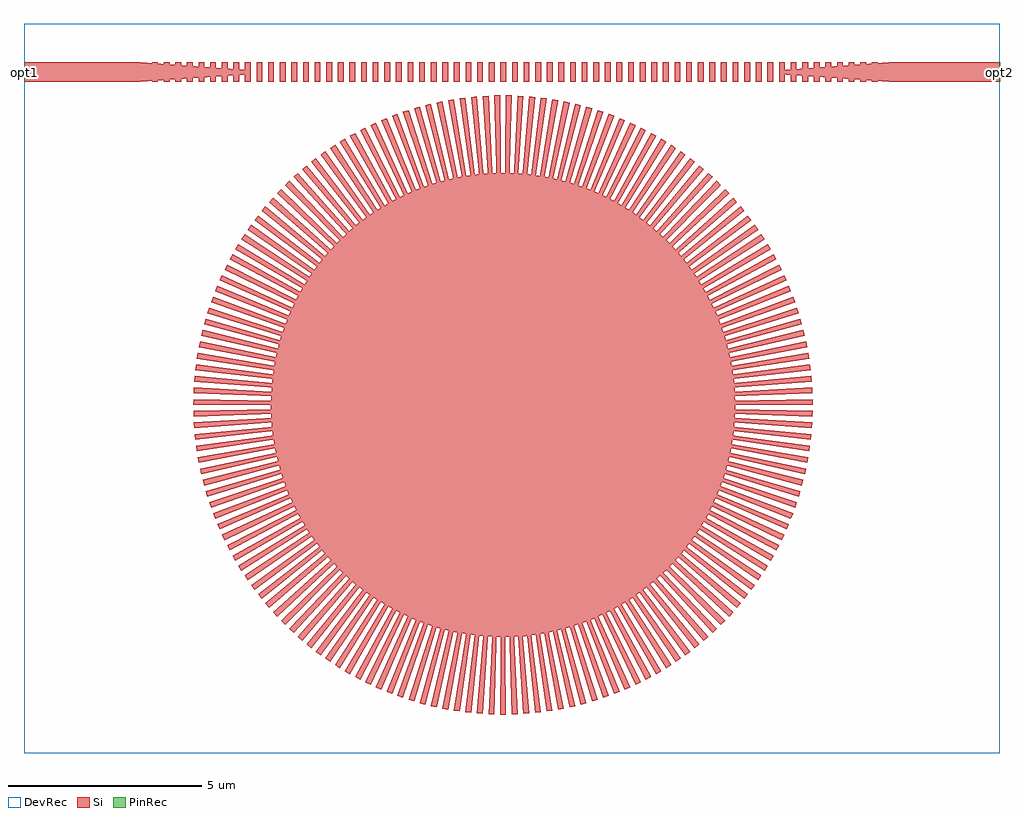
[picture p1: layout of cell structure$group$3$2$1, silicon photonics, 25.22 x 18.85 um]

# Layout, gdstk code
import gdstk
lib = gdstk.Library(unit=1e-6, precision=1e-09)
def R(c, l, rs):  # rectangles x0, y0, x1, y1
    for r in rs: c.add(gdstk.rectangle(r[:2], r[2:], *l))
def A(c, l, x, y, w, h, nx, ny, dx, dy):  # array of equal rectangles
    R(c, l, [(x+i*dx, y+j*dy, x+i*dx+w, y+j*dy+h) for i in range(nx) for j in range(ny)])
def P(c, l, *ps):  # polygons
    for p in ps: c.add(gdstk.Polygon(p, *l))
Si = (1, 0)
PinRec = (1, 10)
DevRec = (68, 0)

swg_ring_2_2_1 = lib.new_cell('swg_ring$2$2$1')
P(swg_ring_2_2_1, Si, [(-0.075,-8),(-0.004,-0.4),(0.004,-0.4),(0.075,-8)],
  [(-0.014,-6),(-0.602,-5.97),(-1.184,-5.882),(-1.755,-5.738),(-2.308,-5.538),(-2.84,-5.285),(-3.344,-4.982),(-3.816,-4.63),(-4.251,-4.234),(-4.645,-3.797),(-4.995,-3.324),(-5.297,-2.819),(-5.547,-2.286),(-5.745,-1.732),(-5.887,-1.161),(-5.972,-0.578),(-6,0.01),(-5.97,0.597),(-5.883,1.179),(-5.739,1.75),(-5.54,2.304),(-5.288,2.835),(-4.984,3.34),(-4.633,3.812),(-4.238,4.248),(-3.801,4.642),(-3.328,4.992),(-2.823,5.294),(-2.291,5.546),(-1.736,5.743),(-1.165,5.886),(-0.583,5.972),(0.005,6),(0.593,5.971),(1.175,5.884),(1.745,5.741),(2.299,5.542),(2.831,5.29),(3.336,4.987),(3.808,4.636),(4.244,4.241),(4.639,3.805),(4.99,3.332),(5.292,2.827),(5.544,2.295),(5.742,1.741),(5.885,1.17),(5.971,0.588),(6,0),(5.969,-0.607),(5.881,-1.189),(5.736,-1.759),(5.536,-2.313),(5.283,-2.844),(4.979,-3.348),(4.627,-3.82),(4.231,-4.254),(3.794,-4.648),(3.32,-4.998),(2.814,-5.299),(2.282,-5.549),(1.727,-5.746),(1.156,-5.888),(0.574,-5.973)],
  [(0.4,0.015),(0.399,0.023),(7.987,0.451),(7.994,0.301)],
  [(0.171,0.362),(0.164,0.365),(3.286,7.294),(3.423,7.231)],
  [(0.39,0.09),(0.388,0.097),(7.762,1.937),(7.797,1.791)],
  [(0.366,0.161),(0.363,0.168),(7.263,3.354),(7.325,3.217)],
  [(0.395,0.06),(0.394,0.067),(7.886,1.348),(7.91,1.199)],
  [(0.086,0.391),(0.078,0.392),(1.57,7.844),(1.717,7.814)],
  [(0.372,0.147),(0.369,0.154),(7.384,3.079),(7.44,2.939)],
  [(0.312,0.251),(0.307,0.256),(6.139,5.129),(6.234,5.013)],
  [(0.292,0.273),(0.287,0.279),(5.736,5.576),(5.84,5.468)],
  [(0.282,0.284),(0.276,0.289),(5.522,5.788),(5.63,5.683)],
  [(0.4,0),(0.4,0.008),(7.999,0.15),(8,0)],
  [(0.393,0.075),(0.391,0.082),(7.829,1.644),(7.859,1.496)],
  [(0.346,0.201),(0.342,0.208),(6.839,4.151),(6.916,4.022)],
  [(0.056,0.396),(0.049,0.397),(0.976,7.94),(1.125,7.921)],
  [(0.041,0.398),(0.034,0.399),(0.676,7.971),(0.826,7.957)],
  [(0.338,0.214),(0.334,0.22),(6.678,4.405),(6.759,4.279)],
  [(0.302,0.262),(0.297,0.268),(5.942,5.357),(6.042,5.244)],
  [(0.321,0.239),(0.316,0.245),(6.328,4.895),(6.419,4.775)],
  [(0.211,0.34),(0.204,0.344),(4.087,6.877),(4.215,6.799)],
  [(0.185,0.355),(0.178,0.358),(3.558,7.165),(3.692,7.097)],
  [(0.248,0.314),(0.242,0.319),(4.835,6.373),(4.954,6.281)],
  [(0.198,0.348),(0.191,0.351),(3.825,7.026),(3.956,6.953)],
  [(0.129,0.379),(0.122,0.381),(2.443,7.618),(2.586,7.57)],
  [(0.353,0.188),(0.35,0.195),(6.99,3.891),(7.062,3.759)],
  [(0.259,0.305),(0.254,0.309),(5.072,6.187),(5.187,6.091)],
  [(0.386,0.104),(0.384,0.111),(7.684,2.228),(7.724,2.083)],
  [(0.071,0.394),(0.064,0.395),(1.274,7.898),(1.422,7.873)],
  [(0.377,0.133),(0.375,0.14),(7.494,2.799),(7.546,2.657)],
  [(0.223,0.332),(0.217,0.336),(4.342,6.719),(4.468,6.636)],
  [(0.157,0.368),(0.15,0.371),(3.009,7.412),(3.148,7.355)],
  [(0.397,0.045),(0.397,0.053),(7.931,1.05),(7.949,0.901)],
  [(0.026,0.399),(0.019,0.4),(0.376,7.991),(0.526,7.983)],
  [(0.143,0.373),(0.136,0.376),(2.728,7.52),(2.869,7.468)],
  [(0.115,0.383),(0.108,0.385),(2.155,7.704),(2.3,7.662)],
  [(0.382,0.119),(0.38,0.126),(7.594,2.515),(7.64,2.372)],
  [(0.36,0.175),(0.357,0.181),(7.131,3.625),(7.198,3.49)],
  [(0.236,0.323),(0.23,0.328),(4.592,6.551),(4.714,6.463)],
  [(0.1,0.387),(0.093,0.389),(1.864,7.78),(2.01,7.743)],
  [(0.004,0.4),(0.075,8),(0.226,7.997),(0.011,0.4)],
  [(0.399,0.03),(0.398,0.038),(7.965,0.751),(7.977,0.601)],
  [(0.271,0.295),(0.265,0.3),(5.301,5.992),(5.412,5.891)],
  [(0.33,0.227),(0.325,0.233),(6.507,4.653),(6.594,4.53)],
  [(-0.386,0.104),(-7.724,2.083),(-7.684,2.228),(-0.384,0.111)],
  [(-0.33,0.227),(-6.594,4.53),(-6.507,4.653),(-0.325,0.233)],
  [(-0.198,0.348),(-3.956,6.953),(-3.825,7.026),(-0.191,0.351)],
  [(-0.236,0.323),(-4.714,6.463),(-4.592,6.551),(-0.23,0.328)],
  [(-0.282,0.284),(-5.63,5.683),(-5.522,5.788),(-0.276,0.289)],
  [(-0.129,0.379),(-2.586,7.57),(-2.443,7.618),(-0.122,0.381)],
  [(-0.171,0.362),(-3.423,7.231),(-3.286,7.294),(-0.164,0.365)],
  [(-0.382,0.119),(-7.64,2.372),(-7.594,2.515),(-0.38,0.126)],
  [(-0.271,0.295),(-5.412,5.891),(-5.301,5.992),(-0.265,0.3)],
  [(-8,0),(-7.999,0.15),(-0.4,0.008),(-0.4,0)],
  [(-0.399,0.03),(-7.977,0.601),(-7.965,0.751),(-0.398,0.038)],
  [(-0.071,0.394),(-1.422,7.873),(-1.274,7.898),(-0.064,0.395)],
  [(-0.395,0.06),(-7.91,1.199),(-7.886,1.348),(-0.394,0.067)],
  [(-0.39,0.09),(-7.797,1.791),(-7.762,1.937),(-0.388,0.097)],
  [(-0.292,0.273),(-5.84,5.468),(-5.736,5.576),(-0.287,0.279)],
  [(-0.302,0.262),(-6.042,5.244),(-5.942,5.357),(-0.297,0.268)],
  [(-0.312,0.251),(-6.234,5.013),(-6.139,5.129),(-0.307,0.256)],
  [(-0.321,0.239),(-6.419,4.775),(-6.328,4.895),(-0.316,0.245)],
  [(-0.338,0.214),(-6.759,4.279),(-6.678,4.405),(-0.334,0.22)],
  [(-0.346,0.201),(-6.916,4.022),(-6.839,4.151),(-0.342,0.208)],
  [(-0.372,0.147),(-7.44,2.939),(-7.384,3.079),(-0.369,0.154)],
  [(-0.397,0.045),(-7.949,0.901),(-7.931,1.05),(-0.397,0.053)],
  [(-0.377,0.133),(-7.546,2.657),(-7.494,2.799),(-0.375,0.14)],
  [(-0.393,0.075),(-7.859,1.496),(-7.829,1.644),(-0.391,0.082)],
  [(-0.157,0.368),(-3.148,7.355),(-3.009,7.412),(-0.15,0.371)],
  [(-0.143,0.373),(-2.869,7.468),(-2.728,7.52),(-0.136,0.376)],
  [(-0.248,0.314),(-4.954,6.281),(-4.835,6.373),(-0.242,0.319)],
  [(-0.353,0.188),(-7.062,3.759),(-6.99,3.891),(-0.35,0.195)],
  [(-0.211,0.34),(-4.215,6.799),(-4.087,6.877),(-0.204,0.344)],
  [(-0.115,0.383),(-2.3,7.662),(-2.155,7.704),(-0.108,0.385)],
  [(-0.223,0.332),(-4.468,6.636),(-4.342,6.719),(-0.217,0.336)],
  [(-0.086,0.391),(-1.717,7.814),(-1.57,7.844),(-0.078,0.392)],
  [(-0.056,0.396),(-1.125,7.921),(-0.976,7.94),(-0.049,0.397)],
  [(-0.041,0.398),(-0.826,7.957),(-0.676,7.971),(-0.034,0.399)],
  [(-0.1,0.387),(-2.01,7.743),(-1.864,7.78),(-0.093,0.389)],
  [(-0.185,0.355),(-3.692,7.097),(-3.558,7.165),(-0.178,0.358)],
  [(-0.259,0.305),(-5.187,6.091),(-5.072,6.187),(-0.254,0.309)],
  [(-0.4,0.015),(-7.994,0.301),(-7.987,0.451),(-0.399,0.023)],
  [(-0.011,0.4),(-0.226,7.997),(-0.075,8),(-0.004,0.4)],
  [(-0.366,0.161),(-7.325,3.217),(-7.263,3.354),(-0.363,0.168)],
  [(-0.026,0.399),(-0.526,7.983),(-0.376,7.991),(-0.019,0.4)],
  [(-0.36,0.175),(-7.198,3.49),(-7.131,3.625),(-0.357,0.181)],
  [(-7.994,-0.301),(-7.999,-0.15),(-0.4,-0.008),(-0.4,-0.015)],
  [(-3.692,-7.097),(-3.825,-7.026),(-0.191,-0.351),(-0.185,-0.355)],
  [(-1.717,-7.814),(-1.864,-7.78),(-0.093,-0.389),(-0.086,-0.391)],
  [(-7.44,-2.939),(-7.494,-2.799),(-0.375,-0.14),(-0.372,-0.147)],
  [(-0.526,-7.983),(-0.676,-7.971),(-0.034,-0.399),(-0.026,-0.399)],
  [(-6.042,-5.244),(-6.139,-5.129),(-0.307,-0.256),(-0.302,-0.262)],
  [(-7.797,-1.791),(-7.829,-1.644),(-0.391,-0.082),(-0.39,-0.09)],
  [(-0.226,-7.997),(-0.376,-7.991),(-0.019,-0.4),(-0.011,-0.4)],
  [(-4.215,-6.799),(-4.342,-6.719),(-0.217,-0.336),(-0.211,-0.34)],
  [(-7.859,-1.496),(-7.886,-1.348),(-0.394,-0.067),(-0.393,-0.075)],
  [(-7.724,-2.083),(-7.762,-1.937),(-0.388,-0.097),(-0.386,-0.104)],
  [(-7.977,-0.601),(-7.987,-0.451),(-0.399,-0.023),(-0.399,-0.03)],
  [(-7.64,-2.372),(-7.684,-2.228),(-0.384,-0.111),(-0.382,-0.119)],
  [(-7.546,-2.657),(-7.594,-2.515),(-0.38,-0.126),(-0.377,-0.133)],
  [(-7.198,-3.49),(-7.263,-3.354),(-0.363,-0.168),(-0.36,-0.175)],
  [(-7.949,-0.901),(-7.965,-0.751),(-0.398,-0.038),(-0.397,-0.045)],
  [(-7.325,-3.217),(-7.384,-3.079),(-0.369,-0.154),(-0.366,-0.161)],
  [(-4.468,-6.636),(-4.592,-6.551),(-0.23,-0.328),(-0.223,-0.332)],
  [(-4.714,-6.463),(-4.835,-6.373),(-0.242,-0.319),(-0.236,-0.323)],
  [(-3.956,-6.953),(-4.087,-6.877),(-0.204,-0.344),(-0.198,-0.348)],
  [(-7.062,-3.759),(-7.131,-3.625),(-0.357,-0.181),(-0.353,-0.188)],
  [(-2.586,-7.57),(-2.728,-7.52),(-0.136,-0.376),(-0.129,-0.379)],
  [(-1.422,-7.873),(-1.57,-7.844),(-0.078,-0.392),(-0.071,-0.394)],
  [(-5.84,-5.468),(-5.942,-5.357),(-0.297,-0.268),(-0.292,-0.273)],
  [(-6.759,-4.279),(-6.839,-4.151),(-0.342,-0.208),(-0.338,-0.214)],
  [(-6.594,-4.53),(-6.678,-4.405),(-0.334,-0.22),(-0.33,-0.227)],
  [(-6.419,-4.775),(-6.507,-4.653),(-0.325,-0.233),(-0.321,-0.239)],
  [(-6.234,-5.013),(-6.328,-4.895),(-0.316,-0.245),(-0.312,-0.251)],
  [(-7.91,-1.199),(-7.931,-1.05),(-0.397,-0.053),(-0.395,-0.06)],
  [(-5.63,-5.683),(-5.736,-5.576),(-0.287,-0.279),(-0.282,-0.284)],
  [(-3.148,-7.355),(-3.286,-7.294),(-0.164,-0.365),(-0.157,-0.368)],
  [(-5.187,-6.091),(-5.301,-5.992),(-0.265,-0.3),(-0.259,-0.305)],
  [(-6.916,-4.022),(-6.99,-3.891),(-0.35,-0.195),(-0.346,-0.201)],
  [(-4.954,-6.281),(-5.072,-6.187),(-0.254,-0.309),(-0.248,-0.314)],
  [(-3.423,-7.231),(-3.558,-7.165),(-0.178,-0.358),(-0.171,-0.362)],
  [(-2.869,-7.468),(-3.009,-7.412),(-0.15,-0.371),(-0.143,-0.373)],
  [(-2.01,-7.743),(-2.155,-7.704),(-0.108,-0.385),(-0.1,-0.387)],
  [(-5.412,-5.891),(-5.522,-5.788),(-0.276,-0.289),(-0.271,-0.295)],
  [(-1.125,-7.921),(-1.274,-7.898),(-0.064,-0.395),(-0.056,-0.396)],
  [(-2.3,-7.662),(-2.443,-7.618),(-0.122,-0.381),(-0.115,-0.383)],
  [(-0.826,-7.957),(-0.976,-7.94),(-0.049,-0.397),(-0.041,-0.398)],
  [(7.994,-0.301),(0.4,-0.015),(0.4,-0.008),(7.999,-0.15)],
  [(0.226,-7.997),(0.011,-0.4),(0.019,-0.4),(0.376,-7.991)],
  [(0.826,-7.957),(0.041,-0.398),(0.049,-0.397),(0.976,-7.94)],
  [(2.869,-7.468),(0.143,-0.373),(0.15,-0.371),(3.009,-7.412)],
  [(1.125,-7.921),(0.056,-0.396),(0.064,-0.395),(1.274,-7.898)],
  [(1.422,-7.873),(0.071,-0.394),(0.078,-0.392),(1.57,-7.844)],
  [(2.01,-7.743),(0.1,-0.387),(0.108,-0.385),(2.155,-7.704)],
  [(3.956,-6.953),(0.198,-0.348),(0.204,-0.344),(4.087,-6.877)],
  [(2.3,-7.662),(0.115,-0.383),(0.122,-0.381),(2.443,-7.618)],
  [(2.586,-7.57),(0.129,-0.379),(0.136,-0.376),(2.728,-7.52)],
  [(3.148,-7.355),(0.157,-0.368),(0.164,-0.365),(3.286,-7.294)],
  [(7.546,-2.657),(0.377,-0.133),(0.38,-0.126),(7.594,-2.515)],
  [(5.84,-5.468),(0.292,-0.273),(0.297,-0.268),(5.942,-5.357)],
  [(3.423,-7.231),(0.171,-0.362),(0.178,-0.358),(3.558,-7.165)],
  [(3.692,-7.097),(0.185,-0.355),(0.191,-0.351),(3.825,-7.026)],
  [(4.215,-6.799),(0.211,-0.34),(0.217,-0.336),(4.342,-6.719)],
  [(0.526,-7.983),(0.026,-0.399),(0.034,-0.399),(0.676,-7.971)],
  [(6.916,-4.022),(0.346,-0.201),(0.35,-0.195),(6.99,-3.891)],
  [(6.594,-4.53),(0.33,-0.227),(0.334,-0.22),(6.678,-4.405)],
  [(4.714,-6.463),(0.236,-0.323),(0.242,-0.319),(4.835,-6.373)],
  [(4.954,-6.281),(0.248,-0.314),(0.254,-0.309),(5.072,-6.187)],
  [(7.949,-0.901),(0.397,-0.045),(0.398,-0.038),(7.965,-0.751)],
  [(5.187,-6.091),(0.259,-0.305),(0.265,-0.3),(5.301,-5.992)],
  [(6.419,-4.775),(0.321,-0.239),(0.325,-0.233),(6.507,-4.653)],
  [(5.63,-5.683),(0.282,-0.284),(0.287,-0.279),(5.736,-5.576)],
  [(6.042,-5.244),(0.302,-0.262),(0.307,-0.256),(6.139,-5.129)],
  [(4.468,-6.636),(0.223,-0.332),(0.23,-0.328),(4.592,-6.551)],
  [(6.234,-5.013),(0.312,-0.251),(0.316,-0.245),(6.328,-4.895)],
  [(7.062,-3.759),(0.353,-0.188),(0.357,-0.181),(7.131,-3.625)],
  [(7.198,-3.49),(0.36,-0.175),(0.363,-0.168),(7.263,-3.354)],
  [(7.325,-3.217),(0.366,-0.161),(0.369,-0.154),(7.384,-3.079)],
  [(7.859,-1.496),(0.393,-0.075),(0.394,-0.067),(7.886,-1.348)],
  [(7.44,-2.939),(0.372,-0.147),(0.375,-0.14),(7.494,-2.799)],
  [(7.64,-2.372),(0.382,-0.119),(0.384,-0.111),(7.684,-2.228)],
  [(1.717,-7.814),(0.086,-0.391),(0.093,-0.389),(1.864,-7.78)],
  [(5.412,-5.891),(0.271,-0.295),(0.276,-0.289),(5.522,-5.788)],
  [(6.759,-4.279),(0.338,-0.214),(0.342,-0.208),(6.839,-4.151)],
  [(7.724,-2.083),(0.386,-0.104),(0.388,-0.097),(7.762,-1.937)],
  [(7.797,-1.791),(0.39,-0.09),(0.391,-0.082),(7.829,-1.644)],
  [(7.91,-1.199),(0.395,-0.06),(0.397,-0.053),(7.931,-1.05)],
  [(7.977,-0.601),(0.399,-0.03),(0.399,-0.023),(7.987,-0.451)])

swg_2_2_1 = lib.new_cell('SWG$2$2$1')
A(swg_2_2_1, Si, 0.3, -0.25, 0.15, 0.5, 63, 1, 0.3, 0)
R(swg_2_2_1, Si, [(-3,-0.25,0,0.25), (19.35,-0.25,22.2,0.25)])
P(swg_2_2_1, Si, [(0,-0.25),(0,0.25),(2.85,0.05),(2.85,-0.05)],
  [(19.35,-0.25),(16.5,-0.05),(16.5,0.05),(19.35,0.25)])

structure_group_3_2_1 = lib.new_cell('structure$group$3$2$1')
R(structure_group_3_2_1, DevRec, [(-12.169,-9,13.031,9.85)])
structure_group_3_2_1.add(gdstk.FlexPath([(-12.159,8.6),(-12.179,8.6)], 0.5, ends="flush", simple_path=True, layer=1, datatype=10))  # PinRec
structure_group_3_2_1.add(gdstk.FlexPath([(13.021,8.6),(13.041,8.6)], 0.5, ends="flush", simple_path=True, layer=1, datatype=10))  # PinRec
structure_group_3_2_1.add(gdstk.Reference(swg_ring_2_2_1, (0.2,0)))
structure_group_3_2_1.add(gdstk.Reference(swg_2_2_1, (-9.169,8.6)))
structure_group_3_2_1.add(gdstk.Label('opt1', (-12.169,8.6), layer=1, texttype=10))
structure_group_3_2_1.add(gdstk.Label('opt2', (13.031,8.6), layer=1, texttype=10))

lib.write_gds('structure_group_3_2_1.gds')
